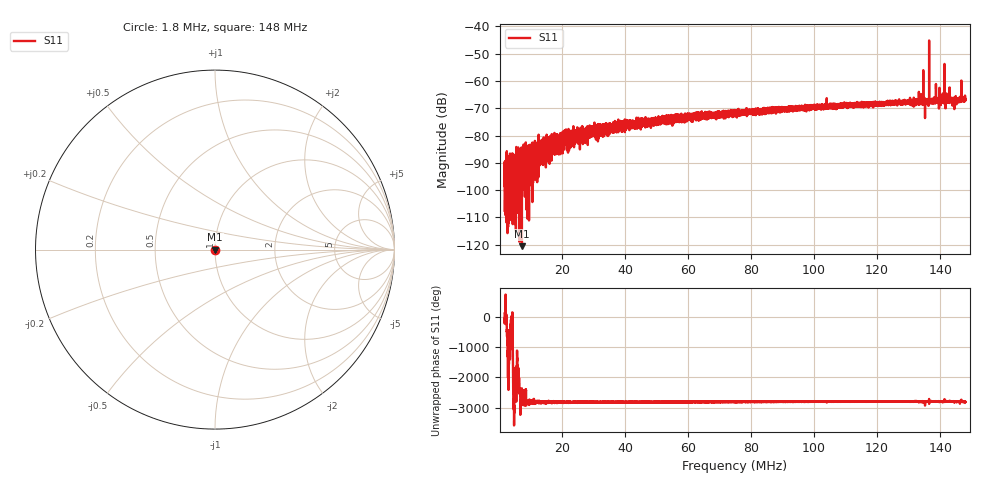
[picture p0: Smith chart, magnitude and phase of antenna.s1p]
! Calibrated high-resolution NanoVNA antenna measurement
# Hz S RI R 50
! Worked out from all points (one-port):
!   40001 points, 1.8 MHz to 148 MHz, reference 50 ohm
!   lowest |S11| = -120.5 dB at 7.282 MHz (marker M1), VSWR 1.00, Z = 50 + j6.13e-05 ohm
!   |S11| at or under -10 dB: start of sweep to end of sweep
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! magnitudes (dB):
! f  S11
! 1.8 MHz  -107.5
! 7.282 MHz  -120.5
! 20.07 MHz  -80.4
! 23.03 MHz  -81.8
! 25.52 MHz  -79.2
! 27.93 MHz  -79.4
! 29.58 MHz  -77.5
! 34.4 MHz  -77.3
! 35.71 MHz  -77.2
! 37.14 MHz  -75.6
! 38.35 MHz  -76.8
! 42.21 MHz  -76.7
! 43.68 MHz  -76.0
! 46.88 MHz  -76.4
! 56.62 MHz  -72.9
! 63.7 MHz  -73.1
! 74.9 MHz  -72.0
! 84.61 MHz  -70.7
! 86.34 MHz  -70.8
! 93.17 MHz  -69.8
! 111.5 MHz  -69.0
! 129.7 MHz  -67.6
! 135 MHz  -67.4
! 135.8 MHz  -67.4
! 139.1 MHz  -66.7
! 140.5 MHz  -67.9
! 143.7 MHz  -67.5
! 148 MHz  -66.9
